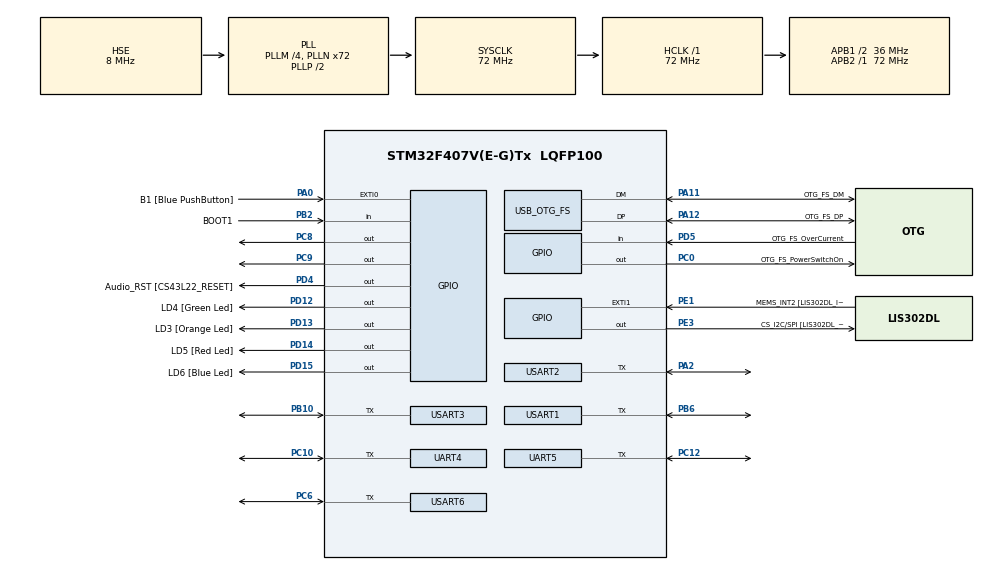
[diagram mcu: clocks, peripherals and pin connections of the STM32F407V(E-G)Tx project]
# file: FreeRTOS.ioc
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Dma.Request0=UART4_RX
Dma.Request1=UART5_RX
Dma.Request2=USART2_RX
Dma.Request3=USART3_RX
Dma.Request4=USART6_RX
Dma.Request5=USART1_TX
Dma.Request6=USART1_RX
Dma.UART4_RX.0.Direction=DMA_PERIPH_TO_MEMORY
Dma.UART4_RX.0.FIFOMode=DMA_FIFOMODE_DISABLE
Dma.UART4_RX.0.Instance=DMA1_Stream2
Dma.UART4_RX.0.MemDataAlignment=DMA_MDATAALIGN_BYTE
Dma.UART4_RX.0.MemInc=DMA_MINC_ENABLE
Dma.UART4_RX.0.Mode=DMA_CIRCULAR
Dma.UART4_RX.0.PeriphDataAlignment=DMA_PDATAALIGN_BYTE
Dma.UART4_RX.0.PeriphInc=DMA_PINC_DISABLE
Dma.UART4_RX.0.Priority=DMA_PRIORITY_LOW
Dma.UART5_RX.1.Direction=DMA_PERIPH_TO_MEMORY
Dma.UART5_RX.1.FIFOMode=DMA_FIFOMODE_DISABLE
Dma.UART5_RX.1.Instance=DMA1_Stream0
Dma.UART5_RX.1.MemDataAlignment=DMA_MDATAALIGN_BYTE
Dma.UART5_RX.1.MemInc=DMA_MINC_ENABLE
Dma.UART5_RX.1.Mode=DMA_CIRCULAR
Dma.UART5_RX.1.PeriphDataAlignment=DMA_PDATAALIGN_BYTE
Dma.UART5_RX.1.PeriphInc=DMA_PINC_DISABLE
Dma.UART5_RX.1.Priority=DMA_PRIORITY_LOW
Dma.USART1_RX.6.Direction=DMA_PERIPH_TO_MEMORY
Dma.USART1_RX.6.FIFOMode=DMA_FIFOMODE_DISABLE
Dma.USART1_RX.6.Instance=DMA2_Stream2
Dma.USART1_RX.6.MemDataAlignment=DMA_MDATAALIGN_BYTE
Dma.USART1_RX.6.MemInc=DMA_MINC_ENABLE
Dma.USART1_RX.6.Mode=DMA_CIRCULAR
Dma.USART1_RX.6.PeriphDataAlignment=DMA_PDATAALIGN_BYTE
Dma.USART1_RX.6.PeriphInc=DMA_PINC_DISABLE
Dma.USART1_RX.6.Priority=DMA_PRIORITY_LOW
Dma.USART1_TX.5.Direction=DMA_MEMORY_TO_PERIPH
Dma.USART1_TX.5.FIFOMode=DMA_FIFOMODE_DISABLE
Dma.USART1_TX.5.Instance=DMA2_Stream7
Dma.USART1_TX.5.MemDataAlignment=DMA_MDATAALIGN_BYTE
Dma.USART1_TX.5.MemInc=DMA_MINC_ENABLE
Dma.USART1_TX.5.Mode=DMA_NORMAL
Dma.USART1_TX.5.PeriphDataAlignment=DMA_PDATAALIGN_BYTE
Dma.USART1_TX.5.PeriphInc=DMA_PINC_DISABLE
Dma.USART1_TX.5.Priority=DMA_PRIORITY_LOW
Dma.USART2_RX.2.Direction=DMA_PERIPH_TO_MEMORY
Dma.USART2_RX.2.FIFOMode=DMA_FIFOMODE_DISABLE
Dma.USART2_RX.2.Instance=DMA1_Stream5
Dma.USART2_RX.2.MemDataAlignment=DMA_MDATAALIGN_BYTE
Dma.USART2_RX.2.MemInc=DMA_MINC_ENABLE
Dma.USART2_RX.2.Mode=DMA_CIRCULAR
Dma.USART2_RX.2.PeriphDataAlignment=DMA_PDATAALIGN_BYTE
Dma.USART2_RX.2.PeriphInc=DMA_PINC_DISABLE
Dma.USART2_RX.2.Priority=DMA_PRIORITY_LOW
Dma.USART3_RX.3.Direction=DMA_PERIPH_TO_MEMORY
Dma.USART3_RX.3.FIFOMode=DMA_FIFOMODE_DISABLE
Dma.USART3_RX.3.Instance=DMA1_Stream1
Dma.USART3_RX.3.MemDataAlignment=DMA_MDATAALIGN_BYTE
Dma.USART3_RX.3.MemInc=DMA_MINC_ENABLE
Dma.USART3_RX.3.Mode=DMA_CIRCULAR
Dma.USART3_RX.3.PeriphDataAlignment=DMA_PDATAALIGN_BYTE
Dma.USART3_RX.3.PeriphInc=DMA_PINC_DISABLE
Dma.USART3_RX.3.Priority=DMA_PRIORITY_LOW
Dma.USART6_RX.4.Direction=DMA_PERIPH_TO_MEMORY
Dma.USART6_RX.4.FIFOMode=DMA_FIFOMODE_DISABLE
Dma.USART6_RX.4.Instance=DMA2_Stream1
Dma.USART6_RX.4.MemDataAlignment=DMA_MDATAALIGN_BYTE
Dma.USART6_RX.4.MemInc=DMA_MINC_ENABLE
Dma.USART6_RX.4.Mode=DMA_CIRCULAR
Dma.USART6_RX.4.PeriphDataAlignment=DMA_PDATAALIGN_BYTE
Dma.USART6_RX.4.PeriphInc=DMA_PINC_DISABLE
Dma.USART6_RX.4.Priority=DMA_PRIORITY_LOW
FREERTOS.Tasks01=defaultTask,24,128,StartDefaultTask,Default,NULL,Dynamic,NULL,NULL
Mcu.Family=STM32F4
Mcu.Name=STM32F407V(E-G)Tx
Mcu.Package=LQFP100
NVIC.DMA1_Stream0_IRQn=true\:5\:0\:false\:false\:true\:true\:false\:true
NVIC.DMA1_Stream1_IRQn=true\:5\:0\:false\:false\:true\:true\:false\:true
NVIC.DMA1_Stream2_IRQn=true\:5\:0\:false\:false\:true\:true\:false\:true
NVIC.DMA1_Stream5_IRQn=true\:5\:0\:false\:false\:true\:true\:false\:true
NVIC.DMA2_Stream1_IRQn=true\:5\:0\:false\:false\:true\:true\:false\:true
NVIC.DMA2_Stream2_IRQn=true\:5\:0\:false\:false\:true\:true\:false\:true
NVIC.DMA2_Stream7_IRQn=true\:5\:0\:false\:false\:true\:true\:false\:true
NVIC.PriorityGroup=NVIC_PRIORITYGROUP_4
NVIC.TIM1_UP_TIM10_IRQn=true\:0\:0\:false\:false\:true\:false\:false\:true
NVIC.TimeBase=TIM1_UP_TIM10_IRQn
NVIC.TimeBaseIP=TIM1
NVIC.USART1_IRQn=true\:5\:0\:false\:false\:true\:true\:true\:true
PA0-WKUP.GPIO_Label=B1 [Blue PushButton]
PA0-WKUP.Signal=GPXTI0
PA10.GPIO_Label=OTG_FS_ID
PA10.GPIO_Mode=GPIO_MODE_AF_PP
PA10.GPIO_PuPd=GPIO_NOPULL
PA10.GPIO_Speed=GPIO_SPEED_FREQ_LOW
PA10.Signal=USB_OTG_FS_ID
PA11.GPIO_Label=OTG_FS_DM
PA11.GPIO_Mode=GPIO_MODE_AF_PP
PA11.GPIO_PuPd=GPIO_NOPULL
PA11.GPIO_Speed=GPIO_SPEED_FREQ_LOW
PA11.Mode=Device_Only
PA11.Signal=USB_OTG_FS_DM
PA12.GPIO_Label=OTG_FS_DP
PA12.GPIO_Mode=GPIO_MODE_AF_PP
PA12.GPIO_PuPd=GPIO_NOPULL
PA12.GPIO_Speed=GPIO_SPEED_FREQ_LOW
PA12.Mode=Device_Only
PA12.Signal=USB_OTG_FS_DP
PA13.GPIO_Label=SWDIO
PA13.Mode=Serial_Wire
PA13.Signal=SYS_JTMS-SWDIO
PA14.GPIO_Label=SWCLK
PA14.Mode=Serial_Wire
PA14.Signal=SYS_JTCK-SWCLK
PA2.Mode=Half_duplex(single_wire_mode)
PA2.Signal=USART2_TX
PA5.GPIO_Label=SPI1_SCK [LIS302DL_SCL/SPC]
PA5.GPIO_Mode=GPIO_MODE_AF_PP
PA5.GPIO_PuPd=GPIO_NOPULL
PA5.GPIO_Speed=GPIO_SPEED_FREQ_LOW
PA5.Signal=SPI1_SCK
PA6.GPIO_Label=SPI1_MISO [LIS302DL_SDO]
PA6.GPIO_Mode=GPIO_MODE_AF_PP
PA6.GPIO_PuPd=GPIO_NOPULL
PA6.GPIO_Speed=GPIO_SPEED_FREQ_LOW
PA6.Signal=SPI1_MISO
PA7.GPIO_Label=SPI1_MOSI [LIS302DL_SDA/SDI/SDO]
PA7.GPIO_Mode=GPIO_MODE_AF_PP
PA7.GPIO_PuPd=GPIO_NOPULL
PA7.GPIO_Speed=GPIO_SPEED_FREQ_LOW
PA7.Signal=SPI1_MOSI
PA9.GPIO_Label=VBUS_FS
PA9.GPIO_Mode=GPIO_MODE_INPUT
PA9.GPIO_PuPd=GPIO_NOPULL
PA9.Signal=USB_OTG_FS_VBUS
PB10.Mode=Half_duplex(single_wire_mode)
PB10.Signal=USART3_TX
PB2.GPIO_Label=BOOT1
PB2.GPIO_Mode=GPIO_MODE_INPUT
PB2.GPIO_PuPd=GPIO_NOPULL
PB2.Signal=GPIO_Input
PB3.GPIO_Label=SWO
PB3.Signal=SYS_JTDO-SWO
PB6.Mode=Half_duplex(single_wire_mode)
PB6.Signal=USART1_TX
PC0.GPIO_Label=OTG_FS_PowerSwitchOn
PC0.GPIO_PuPd=GPIO_NOPULL
PC0.GPIO_Speed=GPIO_SPEED_FREQ_LOW
PC0.PinState=GPIO_PIN_SET
PC0.Signal=GPIO_Output
PC10.Mode=Half_duplex(single_wire_mode)
PC10.Signal=UART4_TX
PC12.Mode=Half_duplex(single_wire_mode)
PC12.Signal=UART5_TX
PC14-OSC32_IN.GPIO_Label=PC14-OSC32_IN
PC14-OSC32_IN.Mode=LSE-External-Oscillator
PC14-OSC32_IN.Signal=RCC_OSC32_IN
PC15-OSC32_OUT.GPIO_Label=PC15-OSC32_OUT
PC15-OSC32_OUT.Mode=LSE-External-Oscillator
PC15-OSC32_OUT.Signal=RCC_OSC32_OUT
PC3.GPIO_Label=PDM_OUT [MP45DT02_DOUT]
PC3.GPIO_Mode=GPIO_MODE_AF_PP
PC3.GPIO_PuPd=GPIO_NOPULL
PC3.GPIO_Speed=GPIO_SPEED_FREQ_LOW
PC3.Signal=I2S2_SD
PC6.Mode=Half_duplex(single_wire_mode)
PC6.Signal=USART6_TX
PC8.Signal=GPIO_Output
PC9.Signal=GPIO_Output
PD12.GPIO_Label=LD4 [Green Led]
PD12.GPIO_PuPd=GPIO_NOPULL
PD12.GPIO_Speed=GPIO_SPEED_FREQ_LOW
PD12.Signal=GPIO_Output
PD13.GPIO_Label=LD3 [Orange Led]
PD13.GPIO_PuPd=GPIO_NOPULL
PD13.GPIO_Speed=GPIO_SPEED_FREQ_LOW
PD13.Signal=GPIO_Output
PD14.GPIO_Label=LD5 [Red Led]
PD14.GPIO_PuPd=GPIO_NOPULL
PD14.GPIO_Speed=GPIO_SPEED_FREQ_LOW
PD14.Signal=GPIO_Output
PD15.GPIO_Label=LD6 [Blue Led]
PD15.GPIO_PuPd=GPIO_NOPULL
PD15.GPIO_Speed=GPIO_SPEED_FREQ_LOW
PD15.Signal=GPIO_Output
PD4.GPIO_Label=Audio_RST [CS43L22_RESET]
PD4.GPIO_PuPd=GPIO_NOPULL
PD4.GPIO_Speed=GPIO_SPEED_FREQ_LOW
PD4.Signal=GPIO_Output
PD5.GPIO_Label=OTG_FS_OverCurrent
PD5.GPIO_Mode=GPIO_MODE_INPUT
PD5.GPIO_PuPd=GPIO_NOPULL
PD5.Signal=GPIO_Input
PE1.GPIO_Label=MEMS_INT2 [LIS302DL_INT2]
PE1.GPIO_ModeDefaultEXTI=GPIO_MODE_EVT_RISING
PE1.GPIO_PuPd=GPIO_NOPULL
PE1.Signal=GPXTI1
PE3.GPIO_Label=CS_I2C/SPI [LIS302DL_CS_I2C/SPI]
PE3.GPIO_PuPd=GPIO_NOPULL
PE3.GPIO_Speed=GPIO_SPEED_FREQ_LOW
PE3.Signal=GPIO_Output
PH0-OSC_IN.GPIO_Label=PH0-OSC_IN
PH0-OSC_IN.Mode=HSE-External-Oscillator
PH0-OSC_IN.Signal=RCC_OSC_IN
PH1-OSC_OUT.GPIO_Label=PH1-OSC_OUT
PH1-OSC_OUT.Mode=HSE-External-Oscillator
PH1-OSC_OUT.Signal=RCC_OSC_OUT
ProjectManager.HeapSize=0x200
ProjectManager.StackSize=0x400
ProjectManager.TargetToolchain=STM32CubeIDE
RCC.48MHZClocksFreq_Value=48000000
RCC.AHBFreq_Value=72000000
RCC.APB1CLKDivider=RCC_HCLK_DIV2
RCC.APB1Freq_Value=36000000
RCC.APB1TimFreq_Value=72000000
RCC.APB2Freq_Value=72000000
RCC.APB2TimFreq_Value=72000000
RCC.CortexFreq_Value=72000000
RCC.HCLKFreq_Value=72000000
RCC.HSE_VALUE=8000000
RCC.HSI_VALUE=16000000
RCC.PLLM=4
RCC.PLLN=72
RCC.PLLQ=3
RCC.SYSCLKFreq_VALUE=72000000
RCC.SYSCLKSource=RCC_SYSCLKSOURCE_PLLCLK
RCC.VCOOutputFreq_Value=144000000
UART4.VirtualMode=Asynchronous
UART5.VirtualMode=Asynchronous
USART1.BaudRate=1000000
USART1.VirtualMode=VM_ASYNC
USART2.VirtualMode=VM_ASYNC
USART3.VirtualMode=VM_ASYNC
USART6.VirtualMode=VM_ASYNC
USB_OTG_FS.VirtualMode=Device_Only
VP_FREERTOS_VS_CMSIS_V2.Mode=CMSIS_V2
VP_SYS_VS_tim1.Mode=TIM1
board=STM32F407G-DISC1

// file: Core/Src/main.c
/* USER CODE BEGIN Header */
/**
  ******************************************************************************
  * @file           : main.c
  * @brief          : Main program body
  ******************************************************************************
  * @attention
  *
  * <h2><center>&copy; Copyright (c) 2020 STMicroelectronics.
  * All rights reserved.</center></h2>
  *
  * This software component is licensed by ST under BSD 3-Clause license,
  * the "License"; You may not use this file except in compliance with the
  * License. You may obtain a copy of the License at:
  *                        opensource.org/licenses/BSD-3-Clause
  *
  ******************************************************************************
  */
/* USER CODE END Header */

#include "main.h"
#include "cmsis_os.h"
#include "dma.h"
#include "usart.h"
#include "usb_otg.h"
#include "gpio.h"

void SystemClock_Config(void);
void MX_FREERTOS_Init(void);

int main(void)
{

  /* MCU Configuration--------------------------------------------------------*/

  /* Reset of all peripherals, Initializes the Flash interface and the Systick. */
  HAL_Init();

  /* Configure the system clock */
  SystemClock_Config();

  /* Initialize all configured peripherals */
  MX_GPIO_Init();
  MX_DMA_Init();
  MX_UART4_Init();
  MX_UART5_Init();
  MX_USART1_UART_Init();
  MX_USART2_UART_Init();
  MX_USART3_UART_Init();
  MX_USART6_UART_Init();
  MX_USB_OTG_FS_PCD_Init();
  /* Init scheduler */
  osKernelInitialize();

  /* Call init function for freertos objects (in freertos.c) */
  MX_FREERTOS_Init();

  /* Start scheduler */
  osKernelStart();

  /* We should never get here as control is now taken by the scheduler */

  /* Infinite loop */
  while (1)
  {

  }
}

void SystemClock_Config(void)
{
  RCC_OscInitTypeDef RCC_OscInitStruct = {0};
  RCC_ClkInitTypeDef RCC_ClkInitStruct = {0};

  /** Configure the main internal regulator output voltage
  */
  __HAL_RCC_PWR_CLK_ENABLE();
  __HAL_PWR_VOLTAGESCALING_CONFIG(PWR_REGULATOR_VOLTAGE_SCALE1);
  /** Initializes the CPU, AHB and APB busses clocks
  */
  RCC_OscInitStruct.OscillatorType = RCC_OSCILLATORTYPE_HSE;
  RCC_OscInitStruct.HSEState = RCC_HSE_ON;
  RCC_OscInitStruct.PLL.PLLState = RCC_PLL_ON;
  RCC_OscInitStruct.PLL.PLLSource = RCC_PLLSOURCE_HSE;
  RCC_OscInitStruct.PLL.PLLM = 4;
  RCC_OscInitStruct.PLL.PLLN = 72;
  RCC_OscInitStruct.PLL.PLLP = RCC_PLLP_DIV2;
  RCC_OscInitStruct.PLL.PLLQ = 3;
  if (HAL_RCC_OscConfig(&RCC_OscInitStruct) != HAL_OK)
  {
    Error_Handler();
  }
  /** Initializes the CPU, AHB and APB busses clocks
  */
  RCC_ClkInitStruct.ClockType = RCC_CLOCKTYPE_HCLK|RCC_CLOCKTYPE_SYSCLK
                              |RCC_CLOCKTYPE_PCLK1|RCC_CLOCKTYPE_PCLK2;
  RCC_ClkInitStruct.SYSCLKSource = RCC_SYSCLKSOURCE_PLLCLK;
  RCC_ClkInitStruct.AHBCLKDivider = RCC_SYSCLK_DIV1;
  RCC_ClkInitStruct.APB1CLKDivider = RCC_HCLK_DIV2;
  RCC_ClkInitStruct.APB2CLKDivider = RCC_HCLK_DIV1;

  if (HAL_RCC_ClockConfig(&RCC_ClkInitStruct, FLASH_LATENCY_2) != HAL_OK)
  {
    Error_Handler();
  }
}

void HAL_TIM_PeriodElapsedCallback(TIM_HandleTypeDef *htim)
{
  if (htim->Instance == TIM1) {
    HAL_IncTick();
  }
}

void Error_Handler(void)
{
}

/************************ (C) COPYRIGHT STMicroelectronics *****END OF FILE****/

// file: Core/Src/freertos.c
/* USER CODE BEGIN Header */
/**
  ******************************************************************************
  * File Name          : freertos.c
  * Description        : Code for freertos applications
  ******************************************************************************
  * @attention
  *
  * <h2><center>&copy; Copyright (c) 2020 STMicroelectronics.
  * All rights reserved.</center></h2>
  *
  * This software component is licensed by ST under Ultimate Liberty license
  * SLA0044, the "License"; You may not use this file except in compliance with
  * the License. You may obtain a copy of the License at:
  *                             www.st.com/SLA0044
  *
  ******************************************************************************
  */
/* USER CODE END Header */

#include "FreeRTOS.h"
#include "task.h"
#include "main.h"
#include "cmsis_os.h"

/* USER CODE BEGIN Includes */
#include "usart.h"
#include "dynamixel.h"
/* USER CODE END Includes */

/* USER CODE BEGIN Variables */

osThreadId_t Serial1Handle;
const osThreadAttr_t Serial1_attributes = {
  .name = "Serial1",
  .priority = (osPriority_t) osPriorityNormal,
  .stack_size = 8192
};

/* USER CODE END Variables */
/* Definitions for defaultTask */
osThreadId_t defaultTaskHandle;
const osThreadAttr_t defaultTask_attributes = {
  .name = "defaultTask",
  .priority = (osPriority_t) osPriorityNormal,
  .stack_size = 128
};

/* USER CODE BEGIN FunctionPrototypes */

void Serial1(void *argument);

/* USER CODE END FunctionPrototypes */

void StartDefaultTask(void *argument);

void MX_FREERTOS_Init(void); /* (MISRA C 2004 rule 8.1) */

void MX_FREERTOS_Init(void) {

  /* Create the thread(s) */
  /* creation of defaultTask */
  defaultTaskHandle = osThreadNew(StartDefaultTask, NULL, &defaultTask_attributes);

  /* USER CODE BEGIN RTOS_THREADS */

  Serial1Handle = osThreadNew(Serial1, NULL, &Serial1_attributes);

  /* USER CODE END RTOS_THREADS */

}

void StartDefaultTask(void *argument)
{
  /* USER CODE BEGIN StartDefaultTask */
  /* Infinite loop */
  for(;;)
  {
    HAL_GPIO_TogglePin(GPIOD, LD3_Pin);
    osDelay(100);
  }
  /* USER CODE END StartDefaultTask */
}

/* USER CODE BEGIN Application */
void Serial1(void *argument){
  uint8_t param[5];
  uint8_t buffer[50]; //Diminuir, que tá feio
  //uint8_t idParam[2] = {0x03, 0x01}; //!!!CUIDADO!!! Grava ID 1 em todos os motores
  uint8_t idParam[2] = {0x05, 0x08}; //Grava delay time zero
  //transmit(0xFE, 0x03, 2, idParam); //!!!CUIDADO!!! Grava ID 1 em todos os motores
  transmit(0xFE, 0x03, 2, idParam); //Grava delay time
  osDelay(20);
  while(1){
    param[0] = 0x1E;
    param[1] = 0x00;
    param[2] = 0x00;
    param[3] = 0xE0;
    param[4] = 0x00;
    transmit(0x01, 0x03, 5, param);
    osDelay(5);
    for(int i=0; i<2000; i++){
      receive(0x01, 0x02, 0x24, 0x02, buffer);
    }
    osDelay(5000);

    param[0] = 0x1E;
    param[1] = 0xFF;
    param[2] = 0x03;
    param[3] = 0x80;
    param[4] = 0x00;
    transmit(0xFE, 0x03, 5, param);
    osDelay(5000);
  }
}
/* USER CODE END Application */

/************************ (C) COPYRIGHT STMicroelectronics *****END OF FILE****/
